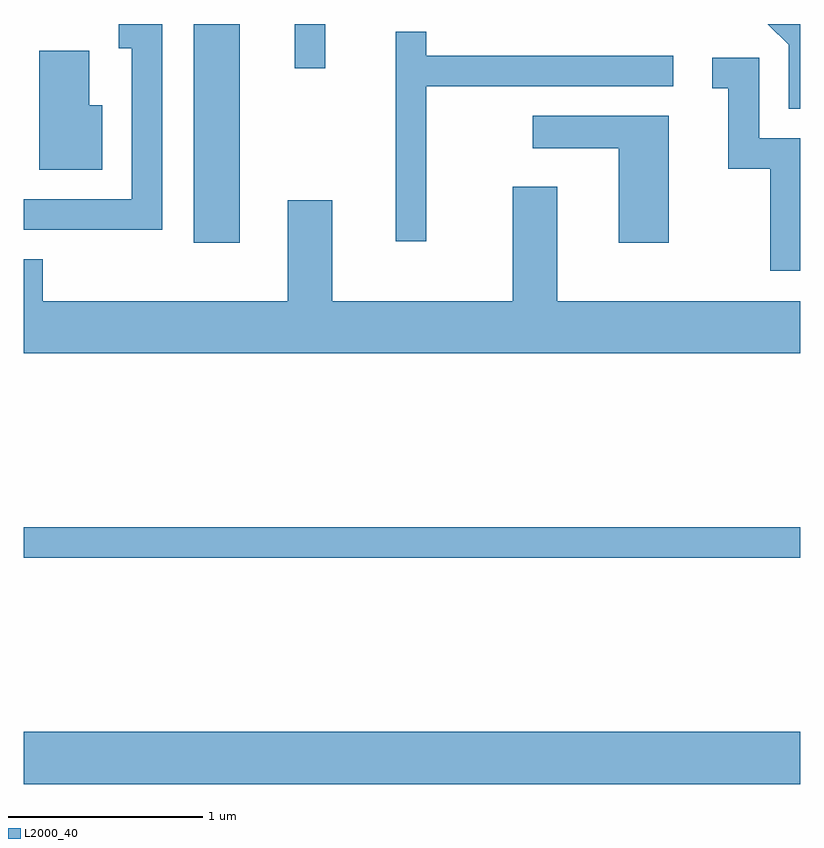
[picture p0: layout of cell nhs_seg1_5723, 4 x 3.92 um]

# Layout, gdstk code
import gdstk
lib = gdstk.Library(unit=1e-6, precision=1e-09)
def R(c, l, rs):  # rectangles x0, y0, x1, y1
    for r in rs: c.add(gdstk.rectangle(r[:2], r[2:], *l))
def P(c, l, *ps):  # polygons
    for p in ps: c.add(gdstk.Polygon(p, *l))
L2000_40 = (2000, 40)

nhs_seg1_5723 = lib.new_cell('nhs_seg1_5723')
R(nhs_seg1_5723, L2000_40, [(357.611,901.796,361.611,902.064), (357.611,902.961,361.611,903.119), (358.486,904.586,358.724,905.712), (359.006,905.483,359.164,905.712)])
P(nhs_seg1_5723, L2000_40, [(358.324,905.712),(358.101,905.712),(358.101,905.586),(358.166,905.586),(358.166,904.809),(357.611,904.809),(357.611,904.651),(358.324,904.651)],
  [(361.611,905.712),(361.443,905.712),(361.551,905.604),(361.551,905.276),(361.611,905.276)],
  [(359.684,905.391),(360.958,905.391),(360.958,905.549),(359.684,905.549),(359.684,905.673),(359.526,905.673),(359.526,904.593),(359.684,904.593)],
  [(358.014,905.294),(357.949,905.294),(357.949,905.574),(357.691,905.574),(357.691,904.961),(358.014,904.961)],
  [(361.611,905.124),(361.399,905.124),(361.399,905.539),(361.158,905.539),(361.158,905.381),(361.241,905.381),(361.241,904.966),(361.456,904.966),(361.456,904.441),(361.611,904.441)],
  [(360.934,905.239),(360.233,905.239),(360.233,905.071),(360.676,905.071),(360.676,904.586),(360.934,904.586)],
  [(361.611,904.284),(360.359,904.284),(360.359,904.874),(360.131,904.874),(360.131,904.284),(359.199,904.284),(359.199,904.804),(358.971,904.804),(358.971,904.284),(357.709,904.284),(357.709,904.499),(357.611,904.499),(357.611,904.016),(361.611,904.016)])

lib.write_gds('nhs_seg1_5723.gds')
